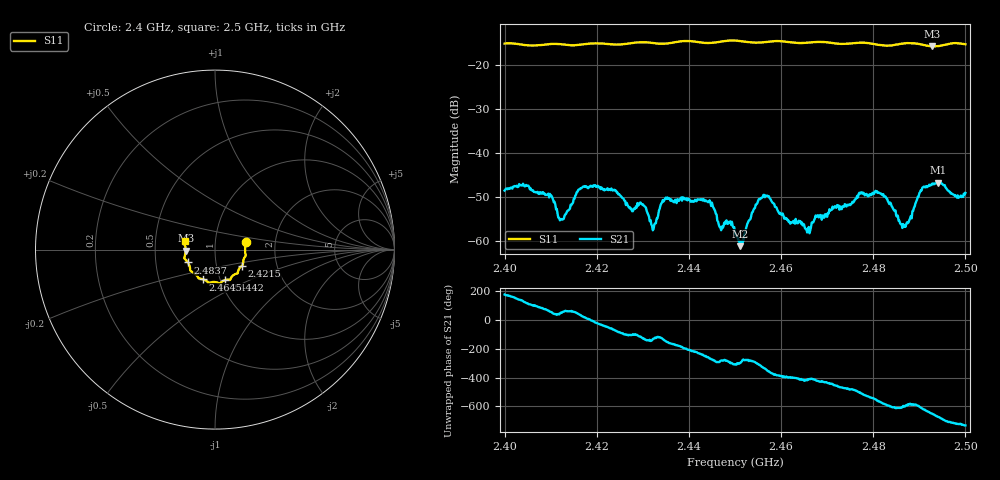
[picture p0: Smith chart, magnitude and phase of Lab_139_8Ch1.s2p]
# Hz S RI R 50
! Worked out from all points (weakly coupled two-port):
!   601 points, 2.4 GHz to 2.5 GHz, reference 50 ohm
!   highest |S21| = -46.68 dB at 2.494 GHz (marker M1); lowest = -61.1 dB at 2.4512 GHz (marker M2)
!   lowest |S11| = -15.7 dB at 2.4928 GHz (marker M3), VSWR 1.39, Z = 36 - j0.377 ohm
!   |S11| at or under -10 dB: start of sweep to end of sweep
!   S12 and S22 are empty: the file has one direction only
!   S11 on the Smith chart (normalised r, x): 2.4 GHz: 1.41, +0.12; 2.4215 GHz: 1.33, -0.25; 2.4442 GHz: 1.05, -0.37; 2.4645 GHz: 0.83, -0.29; 2.4837 GHz: 0.73, -0.11; 2.5 GHz: 0.71, +0.07
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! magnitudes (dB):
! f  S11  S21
! 2.4 GHz  -15.1  -48.5
! 2.4098 GHz  -15.2  -49.3
! 2.4123 GHz  -15.2  -55.0
! 2.4167 GHz  -15.3  -48.0
! 2.4215 GHz  -15.1  -48.1
! 2.43 GHz  -14.8  -51.6
! 2.4323 GHz  -15.0  -57.2
! 2.4333 GHz  -15.1  -54.1
! 2.4352 GHz  -15.1  -50.4
! 2.4442 GHz  -15.0  -51.2
! 2.45 GHz  -14.4  -57.9
! 2.4512 GHz  -14.5  -61.1
! 2.4565 GHz  -14.8  -50.0
! 2.4645 GHz  -15.0  -55.7
! 2.4667 GHz  -14.8  -55.7
! 2.4773 GHz  -14.9  -48.9
! 2.4833 GHz  -15.6  -51.2
! 2.4837 GHz  -15.5  -51.2
! 2.4868 GHz  -15.0  -56.4
! 2.4928 GHz  -15.7  -46.9
! 2.494 GHz  -15.7  -46.7
! 2.5 GHz  -15.3  -49.0
